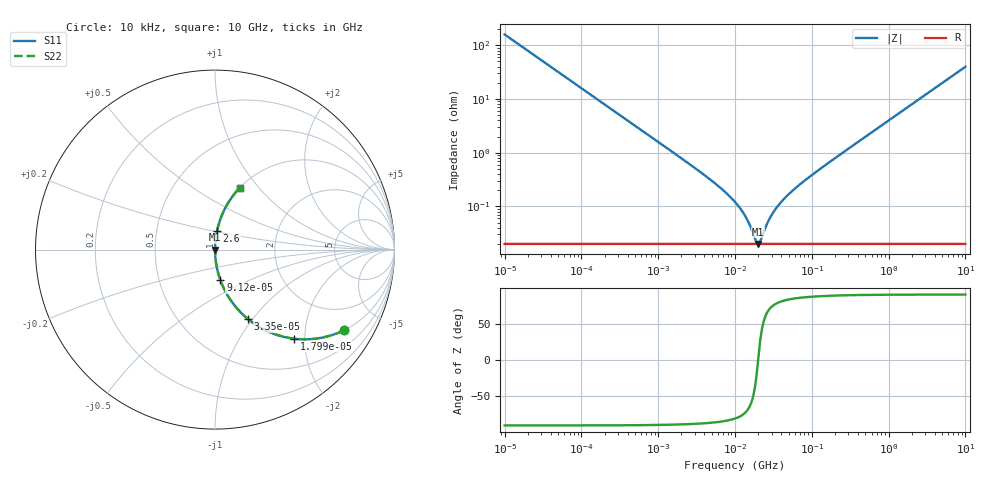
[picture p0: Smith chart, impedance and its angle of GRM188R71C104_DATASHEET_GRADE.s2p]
! Touchstone 2-port S-parameters  (series-through model)
! Part: GRM188R71C104_DATASHEET_GRADE
! Generated: 2026-06-14 12:55 UTC  by s2p tool
! Reference impedance: 50.0 Ohm
! ESL estimated from SRF: 0.633 nH (SRF=20.0 MHz) [PHYSICS ESTIMATE]
! ESTIMATED / behavioral model - NOT manufacturer-measured data.
# Hz S RI R 50
! freq  ReS11  ImS11  ReS21  ImS21  ReS12  ImS12  ReS22  ImS22
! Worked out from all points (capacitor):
!   521 points, 10 kHz to 10 GHz, reference 50 ohm
!   read as one part in series: C = 100 nF near 10.72 kHz
!   lowest |Z| = 20 mohm at 19.95 MHz (marker M1)
!   series resonance near 20 MHz, so ESL is about 630 pH
!   S11 on the Smith chart (normalised r, x): 10 kHz: 1.00, -3.18; 17.99 kHz: 1.00, -1.77; 33.5 kHz: 1.00, -0.95; 91.2 kHz: 1.00, -0.35; 2.6 GHz: 1.00, +0.21; 10 GHz: 1.00, +0.80
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10000  0.7169 -0.4504  0.2831 0.4504  0.2831 0.4504  0.7169 -0.4504
17988.71  0.4391 -0.4962  0.5609 0.4962  0.5609 0.4962  0.4391 -0.4962
33496.54  0.1843 -0.3875  0.8157 0.3875  0.8157 0.3875  0.1843 -0.3875
91201.08  0.0297 -0.1693  0.9703 0.1693  0.9703 0.1693  0.0297 -0.1693
101157.9  0.0243 -0.1535  0.9757 0.1535  0.9757 0.1535  0.0243 -0.1535
266072.5  0.00376 -0.0596  0.9962 0.0596  0.9962 0.0596  0.00376 -0.0596
1023293  0.00044 -0.0155  0.9996 0.0155  0.9996 0.0155  0.00044 -0.0155
4677351  0.00021 -0.00322  0.9998 0.00322  0.9998 0.00322  0.00021 -0.00322
1e7  0.000201 -0.00119  0.9998 0.00119  0.9998 0.00119  0.000201 -0.00119
1.364583e7  0.0002 -0.000623  0.9998 0.000623  0.9998 0.000623  0.0002 -0.000623
1.616564e7  0.0002 -0.000341  0.9998 0.000341  0.9998 0.000341  0.0002 -0.000341
1.887209e7  0.0002 -9.24e-05  0.9998 9.24e-05  0.9998 9.24e-05  0.0002 -9.24e-05
1.995262e7  0.0002 -3.77e-06  0.9998 3.77e-06  0.9998 3.77e-06  0.0002 -3.77e-06
2.203164e7  0.0002 0.000154  0.9998 -0.000154  0.9998 -0.000154  0.0002 0.000154
2.818383e7  0.0002 0.000556  0.9998 -0.000556  0.9998 -0.000556  0.0002 0.000556
3.505318e7  0.000201 0.00094  0.9998 -0.00094  0.9998 -0.00094  0.000201 0.00094
5.821032e7  0.000204 0.00204  0.9998 -0.00204  0.9998 -0.00204  0.000204 0.00204
1.011579e8  0.000215 0.00387  0.9998 -0.00387  0.9998 -0.00387  0.000215 0.00387
1.023293e9  0.00185 0.0406  0.9981 -0.0406  0.9981 -0.0406  0.00185 0.0406
2.60016e9  0.0108 0.1023  0.9892 -0.1023  0.9892 -0.1023  0.0108 0.1023
5.559043e9  0.0468 0.2108  0.9532 -0.2108  0.9532 -0.2108  0.0468 0.2108
1e10  0.1368 0.3434  0.8632 -0.3434  0.8632 -0.3434  0.1368 0.3434
